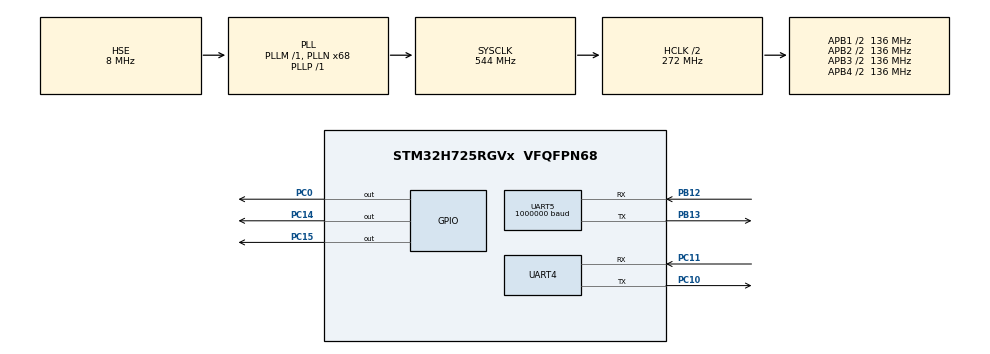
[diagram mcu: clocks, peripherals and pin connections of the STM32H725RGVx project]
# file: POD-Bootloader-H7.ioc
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CORTEX_M7.Enable_Spec=__NULL
Mcu.Family=STM32H7
Mcu.Name=STM32H725RGVx
Mcu.Package=VFQFPN68
NVIC.PriorityGroup=NVIC_PRIORITYGROUP_4
NVIC.UART5_IRQn=true\:0\:0\:false\:false\:true\:true\:true\:true
PA13(JTMS/SWDIO).Signal=DEBUG_JTMS-SWDIO
PA14(JTCK/SWCLK).Signal=DEBUG_JTCK-SWCLK
PB12.Mode=Asynchronous
PB12.Signal=UART5_RX
PB13.Mode=Asynchronous
PB13.Signal=UART5_TX
PB3(JTDO/TRACESWO).Signal=DEBUG_JTDO-SWO
PC0.Signal=GPIO_Output
PC10.Mode=Asynchronous
PC10.Signal=UART4_TX
PC11.Mode=Asynchronous
PC11.Signal=UART4_RX
PC14-OSC32_IN.Signal=GPIO_Output
PC15-OSC32_OUT.Signal=GPIO_Output
PH0-OSC_IN.Mode=HSE-External-Oscillator
PH0-OSC_IN.Signal=RCC_OSC_IN
PH1-OSC_OUT.Mode=HSE-External-Oscillator
PH1-OSC_OUT.Signal=RCC_OSC_OUT
ProjectManager.HeapSize=0x200
ProjectManager.StackSize=0x400
ProjectManager.TargetToolchain=Makefile
RCC.ADCFreq_Value=16125000
RCC.APB1Freq_Value=136000000
RCC.APB2Freq_Value=136000000
RCC.APB3Freq_Value=136000000
RCC.APB4Freq_Value=136000000
RCC.CortexFreq_Value=544000000
RCC.D1PPRE=RCC_APB3_DIV2
RCC.D2PPRE1=RCC_APB1_DIV2
RCC.D2PPRE2=RCC_APB2_DIV2
RCC.D3PPRE=RCC_APB4_DIV2
RCC.DIVM1=1
RCC.DIVM3=1
RCC.DIVN1=68
RCC.DIVN3=24
RCC.DIVP1=1
RCC.DIVQ1=4
RCC.DIVQ3=4
RCC.DIVR3=4
RCC.HCLKFreq_Value=272000000
RCC.HPRE=RCC_HCLK_DIV2
RCC.HSE_VALUE=8000000
RCC.PLL2FRACN=0
RCC.PLL3FRACN=0
RCC.PLLFRACN=0
RCC.PLLSourceVirtual=RCC_PLLSOURCE_HSE
RCC.SYSCLKFreq_VALUE=544000000
RCC.SYSCLKSource=RCC_SYSCLKSOURCE_PLLCLK
RCC.USBCLockSelection=RCC_USBCLKSOURCE_PLL3
RCC.USBFreq_Value=48000000
UART5.BaudRate=1000000
board=custom

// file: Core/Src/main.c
/* USER CODE BEGIN Header */
/**
  ******************************************************************************
  * @file           : main.c
  * @brief          : Main program body
  ******************************************************************************
  * @attention
  *
  * Copyright (c) 2024 STMicroelectronics.
  * All rights reserved.
  *
  * This software is licensed under terms that can be found in the LICENSE file
  * in the root directory of this software component.
  * If no LICENSE file comes with this software, it is provided AS-IS.
  *
  ******************************************************************************
  */
/* USER CODE END Header */
#include "main.h"
#include "usart.h"
#include "gpio.h"

/* USER CODE BEGIN Includes */
#include <string.h>
#include "debug.h"
#include "boot.h"
#include "link.h"
#include "podtp.h"
/* USER CODE END Includes */

void SystemClock_Config(void);

int main(void)
{
  /* USER CODE BEGIN 1 */
  // boot into firmware if A4 is not set
  bootPinInit();
  bool start = startFirmware();
  bootPinDeInit();
  if (start) {
    if (*((uint32_t*)FIRMWARE_START_ADDRESS) != 0xFFFFFFFFU) {
      void (*firmware)(void) __attribute__((noreturn)) = (void *)(*(uint32_t*)(FIRMWARE_START_ADDRESS + 4));
      // Start firmware
      /* HAL implementation */
      SCB->VTOR = FIRMWARE_START_ADDRESS;
      /* STD library implementation */
      // NVIC_SetVectorTable(FIRMWARE_START_ADDRESS, 0);
      __set_MSP(*((uint32_t*) FIRMWARE_START_ADDRESS));
      firmware();
    }
  }
  /* USER CODE END 1 */

  /* MCU Configuration--------------------------------------------------------*/

  /* Reset of all peripherals, Initializes the Flash interface and the Systick. */
  HAL_Init();

  /* Configure the system clock */
  SystemClock_Config();

  /* Initialize all configured peripherals */
  MX_GPIO_Init();
  MX_UART5_Init();
  MX_UART4_Init();
  /* USER CODE BEGIN 2 */
  PodtpPacket rxPacketBuffer;
  PodtpPacket packet;
  DEBUG_PRINT("Bootloader started\n");
  /* USER CODE END 2 */

  /* Infinite loop */
  /* USER CODE BEGIN WHILE */
  while (1)
  {
    if (linkGetPacket(&rxPacketBuffer)) {
      memcpy(&packet, &rxPacketBuffer, sizeof(PodtpPacket));
      if (linkProcessPacket(&packet)) {
        linkSendPacket(&packet);
      }
    }
    /* USER CODE END WHILE */

  }
}

void SystemClock_Config(void)
{
  RCC_OscInitTypeDef RCC_OscInitStruct = {0};
  RCC_ClkInitTypeDef RCC_ClkInitStruct = {0};

  /** Supply configuration update enable
  */
  HAL_PWREx_ConfigSupply(PWR_DIRECT_SMPS_SUPPLY);

  /** Configure the main internal regulator output voltage
  */
  __HAL_PWR_VOLTAGESCALING_CONFIG(PWR_REGULATOR_VOLTAGE_SCALE0);

  while(!__HAL_PWR_GET_FLAG(PWR_FLAG_VOSRDY)) {}

  /** Initializes the RCC Oscillators according to the specified parameters
  * in the RCC_OscInitTypeDef structure.
  */
  RCC_OscInitStruct.OscillatorType = RCC_OSCILLATORTYPE_HSE;
  RCC_OscInitStruct.HSEState = RCC_HSE_ON;
  RCC_OscInitStruct.PLL.PLLState = RCC_PLL_ON;
  RCC_OscInitStruct.PLL.PLLSource = RCC_PLLSOURCE_HSE;
  RCC_OscInitStruct.PLL.PLLM = 1;
  RCC_OscInitStruct.PLL.PLLN = 68;
  RCC_OscInitStruct.PLL.PLLP = 1;
  RCC_OscInitStruct.PLL.PLLQ = 4;
  RCC_OscInitStruct.PLL.PLLR = 2;
  RCC_OscInitStruct.PLL.PLLRGE = RCC_PLL1VCIRANGE_3;
  RCC_OscInitStruct.PLL.PLLVCOSEL = RCC_PLL1VCOWIDE;
  RCC_OscInitStruct.PLL.PLLFRACN = 0;
  if (HAL_RCC_OscConfig(&RCC_OscInitStruct) != HAL_OK)
  {
    Error_Handler();
  }

  /** Initializes the CPU, AHB and APB buses clocks
  */
  RCC_ClkInitStruct.ClockType = RCC_CLOCKTYPE_HCLK|RCC_CLOCKTYPE_SYSCLK
                              |RCC_CLOCKTYPE_PCLK1|RCC_CLOCKTYPE_PCLK2
                              |RCC_CLOCKTYPE_D3PCLK1|RCC_CLOCKTYPE_D1PCLK1;
  RCC_ClkInitStruct.SYSCLKSource = RCC_SYSCLKSOURCE_PLLCLK;
  RCC_ClkInitStruct.SYSCLKDivider = RCC_SYSCLK_DIV1;
  RCC_ClkInitStruct.AHBCLKDivider = RCC_HCLK_DIV2;
  RCC_ClkInitStruct.APB3CLKDivider = RCC_APB3_DIV2;
  RCC_ClkInitStruct.APB1CLKDivider = RCC_APB1_DIV2;
  RCC_ClkInitStruct.APB2CLKDivider = RCC_APB2_DIV2;
  RCC_ClkInitStruct.APB4CLKDivider = RCC_APB4_DIV2;

  if (HAL_RCC_ClockConfig(&RCC_ClkInitStruct, FLASH_LATENCY_3) != HAL_OK)
  {
    Error_Handler();
  }
}

void Error_Handler(void)
{
  __disable_irq();
  while (1)
  {
  }
}
